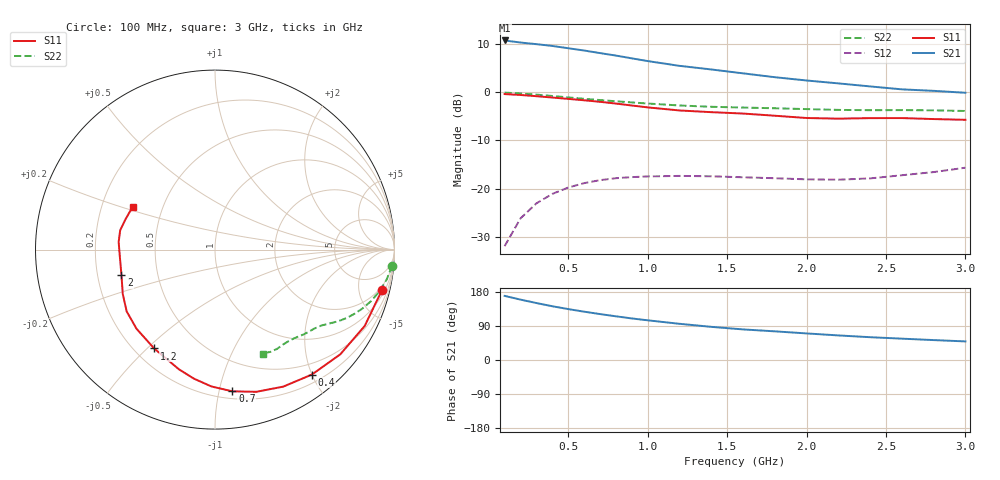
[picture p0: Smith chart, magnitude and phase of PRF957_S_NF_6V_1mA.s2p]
! Philips part #:  PRF957  Date:  Nov 1998
! Bias condition:  Vce=6V, Ic=1.0mA
#  MHz  S  MA  R 50
! Freq  S11  S21  S12  S22
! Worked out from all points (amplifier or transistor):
!   20 points, 100 MHz to 3 GHz, reference 50 ohm
!   highest |S21| = 10.7 dB at 100 MHz (marker M1)
!   |S21| within 3 dB of that: start of sweep to 773.7 MHz
!   unconditionally stable (mu >= 1): 2.052 GHz to end of sweep
!   at 400 MHz: K = 0.15, MSG = 15.4 dB, |S12| = -21.1 dB
!   at 1.2 GHz: K = 0.50, MSG = 11.4 dB, |S12| = -17.4 dB
!   at 3 GHz: K = 1.15, MAG = 5.4 dB, |S12| = -15.7 dB
!   lowest NFmin = 0.94 dB at 500 MHz
!   S11 on the Smith chart (normalised r, x): 100 MHz: 1.48, -8.02; 400 MHz: 0.32, -2.00; 700 MHz: 0.26, -1.10; 1.2 GHz: 0.28, -0.53; 2 GHz: 0.30, -0.12; 3 GHz: 0.34, +0.22
100  0.9569 -13.8  3.446 169.2  0.02524 81.6  0.991 -5.2
200  0.9363 -27.0  3.279 159.4  0.04902 74.2  0.9706 -10.0
300  0.9098 -39.9  3.154 150.3  0.07019 67.3  0.9441 -14.4
400  0.8809 -52.2  3.024 141.9  0.088 61.2  0.9143 -18.4
500  0.8529 -63.5  2.863 134.4  0.1024 56.2  0.8838 -21.9
600  0.8251 -73.8  2.709 127.5  0.1138 51.8  0.8547 -24.8
700  0.7954 -83.0  2.549 121.3  0.1223 48.1  0.8292 -27.2
800  0.7628 -91.5  2.402 115.3  0.1281 44.8  0.8058 -29.2
900  0.7283 -99.3  2.248 109.7  0.1315 42.3  0.7839 -30.9
1000  0.696 -106.9  2.106 104.8  0.1337 40.3  0.7635 -32.5
1200  0.6468 -121.6  1.879 95.6  0.1353 37.5  0.7287 -35.5
1400  0.6211 -134.7  1.724 87.5  0.1341 36.1  0.7062 -38.6
1600  0.6007 -145.0  1.57 80.7  0.131 37.2  0.6932 -41.6
1800  0.5703 -154.3  1.432 75.6  0.128 40.2  0.6817 -44.1
2000  0.5401 -164.8  1.324 70.1  0.1247 44.4  0.6679 -46.9
2200  0.5316 -175.7  1.235 64.9  0.1236 50.0  0.6556 -50.4
2400  0.5385 175.4  1.149 60.2  0.1275 56.5  0.6508 -54.4
2600  0.5391 168.5  1.071 56.3  0.1375 63.4  0.6522 -58.1
2800  0.5265 161.3  1.033 52.5  0.1483 69.9  0.6484 -61.4
3000  0.5171 152.7  0.9873 49.1  0.1648 75.3  0.6387 -65.2
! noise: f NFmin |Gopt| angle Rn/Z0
500  0.94  0.7  34  0.43
800  1.19  0.53  54  0.4
900  1.26  0.54  63  0.4
1000  1.5  0.53  70  0.38
1500  1.65  0.5  111  0.26
2000  2.09  0.53  166  0.08
